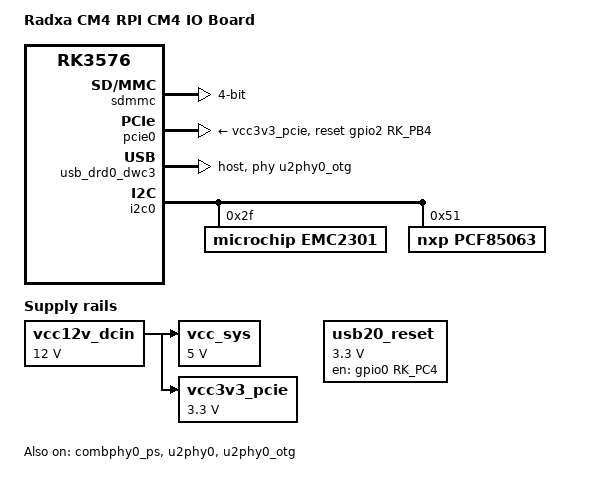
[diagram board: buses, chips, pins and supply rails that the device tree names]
// SPDX-License-Identifier: (GPL-2.0+ OR MIT)
/*
 * Copyright (c) 2024 Rockchip Electronics Co., Ltd.
 * Copyright (c) 2024 Radxa Computer (Shenzhen) Co., Ltd.
 *
 */

/dts-v1/;

#include "rk3576-radxa-cm4.dtsi"

/ {
	model = "Radxa CM4 RPI CM4 IO Board";
	compatible = "radxa,cm4-rpi-cm4-io", "radxa,cm4", "rockchip,rk3576";

	vcc12v_dcin: vcc12v-dcin {
		compatible = "regulator-fixed";
		regulator-name = "vcc12v_dcin";
		regulator-always-on;
		regulator-boot-on;
		regulator-min-microvolt = <12000000>;
		regulator-max-microvolt = <12000000>;
	};

	vcc_sys: vcc5v0-sys {
		compatible = "regulator-fixed";
		regulator-name = "vcc_sys";
		regulator-always-on;
		regulator-boot-on;
		regulator-min-microvolt = <5000000>;
		regulator-max-microvolt = <5000000>;
		vin-supply = <&vcc12v_dcin>;
	};

	vcc3v3_pcie: vcc3v3-pcie {
		compatible = "regulator-fixed";
		regulator-name = "vcc3v3_pcie";
		regulator-min-microvolt = <3300000>;
		regulator-max-microvolt = <3300000>;
		startup-delay-us = <5000>;
		vin-supply = <&vcc12v_dcin>;
	};

	usb20_reset: usb-up-regulator {
		compatible = "regulator-fixed";
		enable-active-high;
		gpio = <&gpio0 RK_PC4 GPIO_ACTIVE_HIGH>;
		pinctrl-names = "default";
		pinctrl-0 = <&usb20_reset_pin>;
		regulator-name = "usb20_reset";
		regulator-min-microvolt = <3300000>;
		regulator-max-microvolt = <3300000>;
		regulator-boot-on;
		regulator-always-on;
	};
};

&sdmmc {
	max-frequency = <200000000>;
	no-sdio;
	no-mmc;
	bus-width = <4>;
	cap-mmc-highspeed;
	cap-sd-highspeed;
	disable-wp;
	sd-uhs-sdr104;
	vqmmc-supply = <&vccio_sd_s0>;
	status = "okay";
};

&combphy0_ps {
	status = "okay";
};

&pcie0 {
	reset-gpios = <&gpio2 RK_PB4 GPIO_ACTIVE_HIGH>;
	rockchip,skip-scan-in-resume;
	vpcie3v3-supply = <&vcc3v3_pcie>;
	status = "okay";
};

&u2phy0 {
	status = "okay";
};

&u2phy0_otg {
	status = "okay";
};

&usb_drd0_dwc3 {
	status = "okay";
	phys = <&u2phy0_otg>;
	phy-names = "usb2-phy";
	dr_mode = "host";
	maximum-speed = "high-speed";
	extcon = <&u2phy0>;
	snps,dis_u2_susphy_quirk;
	snps,usb2-lpm-disable;
};

&i2c0 {
	status = "okay";
	pinctrl-names = "default";
	pinctrl-0 = <&i2c0m1_xfer>;

	/* J17 FAN */
	emc2301: emc2301@2f {
		status = "okay";
		compatible = "microchip,emc2301";
		reg = <0x2f>;
		#address-cells = <1>;
		#size-cells = <0>;
		#cooling-cells = <2>;
		microchip,pwm-separate;
		microchip,cooling-levels = <10>;

		channel@0 {
			reg = <0>;
			pwm-min = <0>;
		};
	};

	pcf85063: pcf85063@51 {
		compatible = "nxp,pcf85063";
		status = "okay";
		reg = <0x51>;
		quartz-load-femtofarads = <12500>;
	};
};

&threshold {
	temperature = <60000>;
};

&little_core_thermal {
	cooling-maps {
		sustainable-power = <5000>; /* milliwatts */
		map3 {
			trip = <&target>;
			cooling-device =
				<&emc2301 THERMAL_NO_LIMIT THERMAL_NO_LIMIT>;
			contribution = <8192>;
		};
		map4 {
			trip = <&threshold>;
			cooling-device =
				<&emc2301 THERMAL_NO_LIMIT THERMAL_NO_LIMIT>;
			contribution = <8192>;
		};
	};
};

&pinctrl {
	usb {
		usb20_reset_pin: usb20-reset {
			rockchip,pins = <0 RK_PC4 RK_FUNC_GPIO &pcfg_pull_up>;
		};
	};
};

&gpio0 {
	gpio-line-names =
		/* GPIO0_A0-A3 */
		"", "", "", "",
		/* GPIO0_A4-A7 */
		"", "", "", "",

		/* GPIO0_B0-B3 */
		"", "", "", "",
		/* GPIO0_B4-B7 */
		"", "", "", "",

		/* GPIO0_C0-C3 */
		"", "", "", "",
		/* GPIO0_C4-C7 */
		"", "", "", "",

		/* GPIO0_D0-D3 */
		"", "", "", "",
		/* GPIO0_D4-D7 */
		"PIN_8", "PIN_10", "", "";
};


&gpio1 {
	gpio-line-names =
		/* GPIO1_A0-A3 */
		"", "", "", "",
		/* GPIO1_A4-A7 */
		"", "", "", "",

		/* GPIO1_B0-B3 */
		"", "", "", "",
		/* GPIO1_B4-B7 */
		"PIN_23", "PIN_19", "PIN_21", "PIN_24",

		/* GPIO1_C0-C3 */
		"PIN_26", "PIN_31", "PIN_11", "PIN_7",
		/* GPIO1_C4-C7 */
		"PIN_33", "PIN_15", "PIN_5", "PIN_3",

		/* GPIO1_D0-D3 */
		"PIN_40", "PIN_12", "PIN_35", "PIN_38",
		/* GPIO1_D4-D7 */
		"PIN_36", "PIN_32", "", "";
};

&gpio2 {
	gpio-line-names =
		/* GPIO2_A0-A3 */
		"", "", "", "",
		/* GPIO2_A4-A7 */
		"", "", "", "",

		/* GPIO2_B0-B3 */
		"", "", "", "",
		/* GPIO2_B4-B7 */
		"", "", "PIN_16", "PIN_18",

		/* GPIO2_C0-C3 */
		"PIN_13", "", "", "",
		/* GPIO2_C4-C7 */
		"", "", "", "",

		/* GPIO2_D0-D3 */
		"", "", "", "",
		/* GPIO2_D4-D7 */
		"", "", "", "PIN_22";
};

&gpio3 {
	gpio-line-names =
		/* GPIO3_A0-A3 */
		"", "", "PIN_29", "PIN_37",
		/* GPIO3_A4-A7 */
		"", "", "", "",

		/* GPIO3_B0-B3 */
		"", "", "", "",
		/* GPIO3_B4-B7 */
		"", "", "", "",

		/* GPIO3_C0-C3 */
		"", "", "", "",
		/* GPIO3_C4-C7 */
		"", "", "", "",

		/* GPIO3_D0-D3 */
		"", "", "", "",
		/* GPIO3_D4-D7 */
		"", "", "", "";
};

&gpio4 {
	gpio-line-names =
		/* GPIO4_A0-A3 */
		"", "", "", "",
		/* GPIO4_A4-A7 */
		"", "", "", "",

		/* GPIO4_B0-B3 */
		"", "", "", "",
		/* GPIO4_B4-B7 */
		"", "", "", "",

		/* GPIO4_C0-C3 */
		"", "", "", "",
		/* GPIO4_C4-C7 */
		"", "", "PIN_28", "PIN_27",

		/* GPIO4_D0-D3 */
		"", "", "", "",
		/* GPIO4_D4-D7 */
		"", "", "", "";
};
